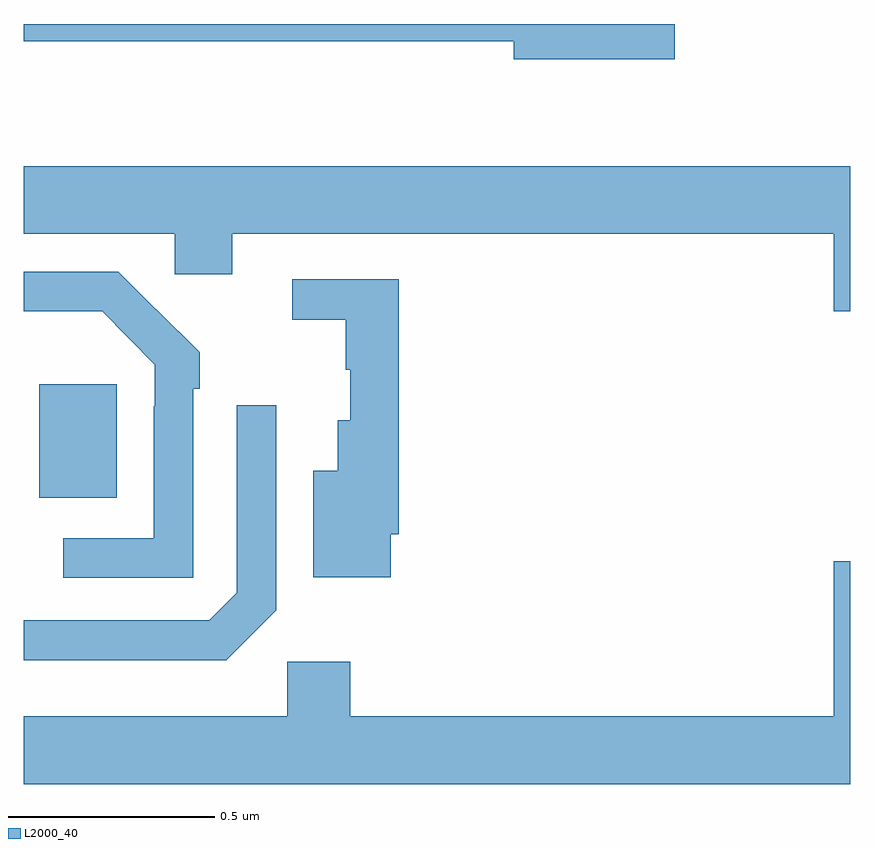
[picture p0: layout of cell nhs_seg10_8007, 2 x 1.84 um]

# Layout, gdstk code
import gdstk
lib = gdstk.Library(unit=1e-6, precision=1e-09)
def R(c, l, rs):  # rectangles x0, y0, x1, y1
    for r in rs: c.add(gdstk.rectangle(r[:2], r[2:], *l))
def P(c, l, *ps):  # polygons
    for p in ps: c.add(gdstk.Polygon(p, *l))
L2000_40 = (2000, 40)

nhs_seg10_8007 = lib.new_cell('nhs_seg10_8007')
R(nhs_seg10_8007, L2000_40, [(211.037,1290.353,211.225,1290.628)])
P(nhs_seg10_8007, L2000_40, [(212.575,1291.5),(211,1291.5),(211,1291.458),(212.186,1291.458),(212.186,1291.415),(212.575,1291.415)],
  [(213,1291.156),(211,1291.156),(211,1290.992),(211.365,1290.992),(211.365,1290.894),(211.504,1290.894),(211.504,1290.992),(212.96,1290.992),(212.96,1290.804),(213,1290.804)],
  [(211.41,1290.617),(211.425,1290.617),(211.425,1290.705),(211.32,1290.81),(211.319,1290.809),(211.228,1290.9),(211,1290.9),(211,1290.804),(211.189,1290.804),(211.317,1290.675),(211.317,1290.575),(211.314,1290.575),(211.314,1290.255),(211.095,1290.255),(211.095,1290.159),(211.41,1290.159)],
  [(211.888,1290.265),(211.907,1290.265),(211.907,1290.882),(211.65,1290.882),(211.65,1290.784),(211.779,1290.784),(211.779,1290.663),(211.79,1290.663),(211.79,1290.541),(211.76,1290.541),(211.76,1290.418),(211.7,1290.418),(211.7,1290.161),(211.888,1290.161)],
  [(211.611,1290.081),(211.611,1290.577),(211.515,1290.577),(211.515,1290.123),(211.449,1290.057),(211,1290.057),(211,1289.96),(211.49,1289.96)],
  [(213,1290.199),(212.96,1290.199),(212.96,1289.824),(211.79,1289.824),(211.79,1289.956),(211.638,1289.956),(211.638,1289.824),(211,1289.824),(211,1289.66),(213,1289.66)])

lib.write_gds('nhs_seg10_8007.gds')
